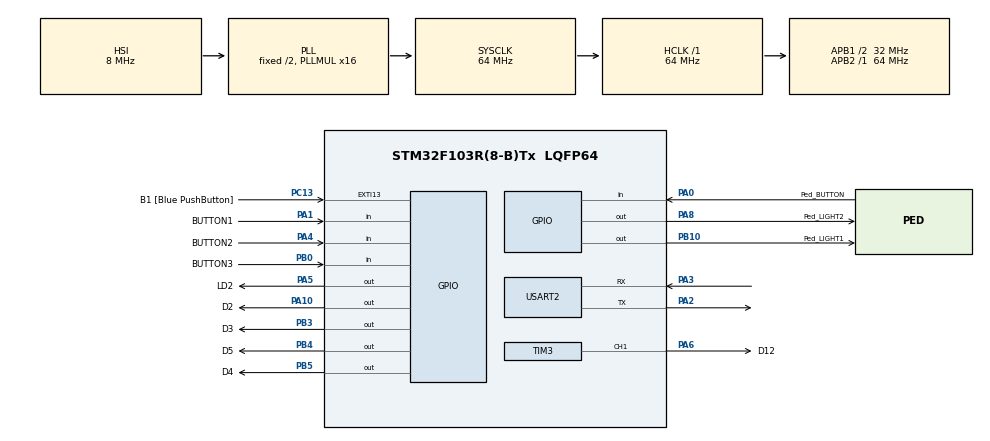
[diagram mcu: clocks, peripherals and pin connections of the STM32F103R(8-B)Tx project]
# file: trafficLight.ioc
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Mcu.Family=STM32F1
Mcu.Name=STM32F103R(8-B)Tx
Mcu.Package=LQFP64
NVIC.EXTI15_10_IRQn=true\:0\:0\:false\:false\:true\:true\:true\:true
NVIC.PriorityGroup=NVIC_PRIORITYGROUP_4
NVIC.TIM2_IRQn=true\:0\:0\:false\:false\:true\:true\:true\:true
PA0-WKUP.GPIO_Label=Ped_BUTTON
PA0-WKUP.Signal=GPIO_Input
PA1.GPIO_Label=BUTTON1
PA1.Signal=GPIO_Input
PA10.GPIO_Label=D2
PA10.Signal=GPIO_Output
PA13.GPIO_Label=TMS
PA13.Mode=Serial_Wire
PA13.Signal=SYS_JTMS-SWDIO
PA14.GPIO_Label=TCK
PA14.Mode=Serial_Wire
PA14.Signal=SYS_JTCK-SWCLK
PA2.GPIO_Mode=GPIO_MODE_AF_PP
PA2.GPIO_PuPd=GPIO_NOPULL
PA2.GPIO_Speed=GPIO_SPEED_FREQ_LOW
PA2.Mode=Asynchronous
PA2.Signal=USART2_TX
PA3.GPIO_Mode=GPIO_MODE_AF_PP
PA3.GPIO_PuPd=GPIO_NOPULL
PA3.GPIO_Speed=GPIO_SPEED_FREQ_LOW
PA3.Mode=Asynchronous
PA3.Signal=USART2_RX
PA4.GPIO_Label=BUTTON2
PA4.Signal=GPIO_Input
PA5.GPIO_Label=LD2
PA5.GPIO_ModeDefaultOutputPP=GPIO_MODE_OUTPUT_PP
PA5.GPIO_PuPd=GPIO_NOPULL
PA5.GPIO_Speed=GPIO_SPEED_FREQ_LOW
PA5.Signal=GPIO_Output
PA6.GPIO_Label=D12
PA6.Signal=S_TIM3_CH1
PA8.GPIO_Label=Ped_LIGHT2
PA8.Signal=GPIO_Output
PB0.GPIO_Label=BUTTON3
PB0.Signal=GPIO_Input
PB10.GPIO_Label=Ped_LIGHT1
PB10.Signal=GPIO_Output
PB3.GPIO_Label=D3
PB3.Signal=GPIO_Output
PB4.GPIO_Label=D5
PB4.Signal=GPIO_Output
PB5.GPIO_Label=D4
PB5.Signal=GPIO_Output
PC13-TAMPER-RTC.GPIO_Label=B1 [Blue PushButton]
PC13-TAMPER-RTC.GPIO_PuPd=GPIO_NOPULL
PC13-TAMPER-RTC.Signal=GPXTI13
PC14-OSC32_IN.Mode=LSE-External-Oscillator
PC14-OSC32_IN.Signal=RCC_OSC32_IN
PC15-OSC32_OUT.Mode=LSE-External-Oscillator
PC15-OSC32_OUT.Signal=RCC_OSC32_OUT
PD0-OSC_IN.Mode=HSE-External-Clock-Source
PD0-OSC_IN.Signal=RCC_OSC_IN
PD1-OSC_OUT.Mode=HSE-External-Clock-Source
PD1-OSC_OUT.Signal=RCC_OSC_OUT
ProjectManager.HeapSize=0x200
ProjectManager.StackSize=0x400
ProjectManager.TargetToolchain=STM32CubeIDE
RCC.AHBFreq_Value=64000000
RCC.APB1CLKDivider=RCC_HCLK_DIV2
RCC.APB1Freq_Value=32000000
RCC.APB1TimFreq_Value=64000000
RCC.APB2Freq_Value=64000000
RCC.APB2TimFreq_Value=64000000
RCC.HCLKFreq_Value=64000000
RCC.PLLMUL=RCC_PLL_MUL16
RCC.RTCClockSelection=RCC_RTCCLKSOURCE_LSE
RCC.SYSCLKFreq_VALUE=64000000
RCC.SYSCLKSource=RCC_SYSCLKSOURCE_PLLCLK
RCC.USBFreq_Value=64000000
SH.S_TIM3_CH1.0=TIM3_CH1,PWM Generation1 CH1
TIM2.Period=624
TIM2.Prescaler=1023
TIM3.Channel-PWM\ Generation1\ CH1=TIM_CHANNEL_1
TIM3.Period=624
TIM3.Prescaler=1023
USART2.VirtualMode=VM_ASYNC
VP_TIM2_VS_ClockSourceINT.Mode=Internal
VP_TIM3_VS_ClockSourceINT.Mode=Internal
board=NUCLEO-F103RB

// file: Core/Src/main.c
/* USER CODE BEGIN Header */
/**
  ******************************************************************************
  * @file           : main.c
  * @brief          : Main program body
  ******************************************************************************
  * @attention
  *
  * <h2><center>&copy; Copyright (c) 2023 STMicroelectronics.
  * All rights reserved.</center></h2>
  *
  * This software component is licensed by ST under BSD 3-Clause license,
  * the "License"; You may not use this file except in compliance with the
  * License. You may obtain a copy of the License at:
  *                        opensource.org/licenses/BSD-3-Clause
  *
  ******************************************************************************
  */
/* USER CODE END Header */
#include "main.h"
#include "tim.h"
#include "usart.h"
#include "gpio.h"

/* USER CODE BEGIN Includes */
#include "global.h"
/* USER CODE END Includes */

void SystemClock_Config(void);
/* USER CODE BEGIN PFP */
//static void MX_USART2_UART_Init(void);
//static void MX_TIM3_Init(void);
//static void MX_TIM2_Init(void);
/* USER CODE END PFP */

/* USER CODE BEGIN 0 */

int timer0_counter = 0;
int timer0_flag = 0;
int TIMER_CYCLE = 10;
void setTimer0(int duration){
	timer0_counter = duration/TIMER_CYCLE;
	timer0_flag = 0;
}

void timer_run(){
	if (timer0_counter > 0){
		timer0_counter--;
		if (timer0_counter == 0) timer0_flag = 1;
	}
}

/* USER CODE END 0 */

int main(void)
{

  /* MCU Configuration--------------------------------------------------------*/

  /* Reset of all peripherals, Initializes the Flash interface and the Systick. */
  HAL_Init();

  /* Configure the system clock */
  SystemClock_Config();

  /* Initialize all configured peripherals */
  MX_GPIO_Init();
  MX_USART2_UART_Init();
  MX_TIM3_Init();
  MX_TIM2_Init();
  /* USER CODE BEGIN 2 */
  HAL_TIM_Base_Start_IT(&htim2);
  HAL_TIM_PWM_Start(&htim3, TIM_CHANNEL_1);
  /* USER CODE END 2 */

  /* Infinite loop */
  /* USER CODE BEGIN WHILE */
  setTrafficLight(0, OFF);
  setTrafficLight(1, OFF);
  setTrafficLight(2, OFF);

//  SCH_Add_Task(&fsm_ped_run, 0, 1);
//  SCH_Add_Task(&fsm_manual_run, 0, 1);
//
//  SCH_Add_Task(&fsm_automatic_run0, 0, 1);
//  SCH_Add_Task(&fsm_automatic_run1, 0, 1);
//  SCH_Add_Task(&fsm_automatic_run2, 0, 1);
  while (1)
  {
	  fsm_manual_run();
	  	  fsm_ped_run();
	  	  fsm_automatic_run(0);
	  	  fsm_automatic_run(1);
	  	  fsm_automatic_run(2);
//	  for (int x = 2000; x > 0; x-=200)
//	  {
//	  __HAL_TIM_SET_AUTORELOAD(&htim3, 5*x);
//	  	__HAL_TIM_SET_COMPARE(&htim3,TIM_CHANNEL_1, 0.6 * (5*x));
//
//	  }
    /* USER CODE END WHILE */

  }
}

void SystemClock_Config(void)
{
  RCC_OscInitTypeDef RCC_OscInitStruct = {0};
  RCC_ClkInitTypeDef RCC_ClkInitStruct = {0};

  /** Initializes the RCC Oscillators according to the specified parameters
  * in the RCC_OscInitTypeDef structure.
  */
  RCC_OscInitStruct.OscillatorType = RCC_OSCILLATORTYPE_HSI;
  RCC_OscInitStruct.HSIState = RCC_HSI_ON;
  RCC_OscInitStruct.HSICalibrationValue = RCC_HSICALIBRATION_DEFAULT;
  RCC_OscInitStruct.PLL.PLLState = RCC_PLL_ON;
  RCC_OscInitStruct.PLL.PLLSource = RCC_PLLSOURCE_HSI_DIV2;
  RCC_OscInitStruct.PLL.PLLMUL = RCC_PLL_MUL16;
  if (HAL_RCC_OscConfig(&RCC_OscInitStruct) != HAL_OK)
  {
    Error_Handler();
  }

  /** Initializes the CPU, AHB and APB buses clocks
  */
  RCC_ClkInitStruct.ClockType = RCC_CLOCKTYPE_HCLK|RCC_CLOCKTYPE_SYSCLK
                              |RCC_CLOCKTYPE_PCLK1|RCC_CLOCKTYPE_PCLK2;
  RCC_ClkInitStruct.SYSCLKSource = RCC_SYSCLKSOURCE_PLLCLK;
  RCC_ClkInitStruct.AHBCLKDivider = RCC_SYSCLK_DIV1;
  RCC_ClkInitStruct.APB1CLKDivider = RCC_HCLK_DIV2;
  RCC_ClkInitStruct.APB2CLKDivider = RCC_HCLK_DIV1;

  if (HAL_RCC_ClockConfig(&RCC_ClkInitStruct, FLASH_LATENCY_2) != HAL_OK)
  {
    Error_Handler();
  }
}

/* USER CODE BEGIN 4 */
void HAL_TIM_PeriodElapsedCallback(TIM_HandleTypeDef *htim){
	timerRun();
	getKeyInput(0);
	getKeyInput(1);
	getKeyInput(2);
	getKeyInput(3);
	SCH_Update();
}
/* USER CODE END 4 */

void Error_Handler(void)
{
  __disable_irq();
  while (1)
  {
  }
}
